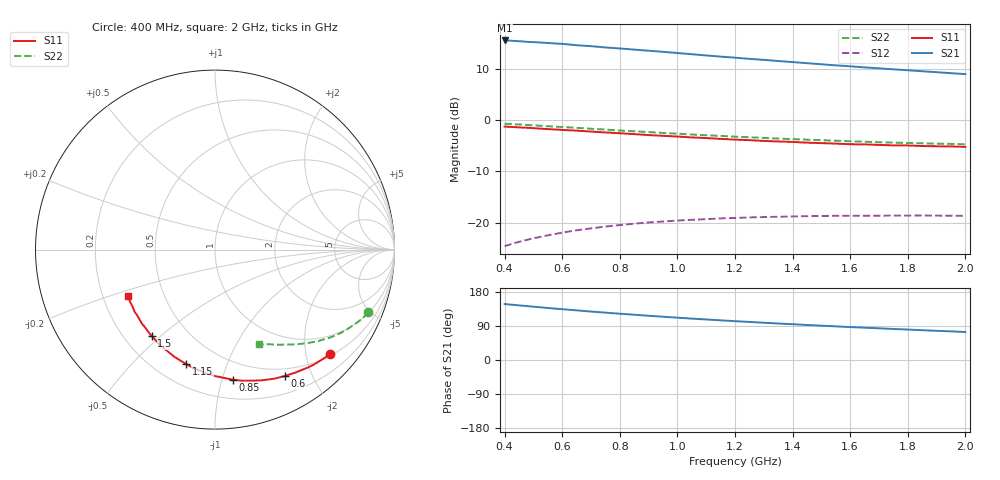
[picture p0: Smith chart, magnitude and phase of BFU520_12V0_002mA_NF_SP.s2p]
! Filename:  P:\Prog\Test\Noise\ATS_data\Testdata_Net\06 Compressed Noise after Statistics\BFU520_APG2013_37_A05_12p0V_002mA_NF_CM01_D.sf
! Date/Time: Fri 26/Apr/2013 14:13:13
! BFU520_APG2013_37_A05_12p0V_1to20mA_NF_CM01_Bias2_R.sf
! Noise Parameter Data File
! BFU520_APG2013_37_A05_12p0V_1to20mA_NF_CM01
! Date/time: Tue Apr 23 19:55:39 2013
! VAR V_out= 12.001000
! VAR I_out= 2.000000
! VAR V_in= 0.800200
! VAR I_in= 0.017900
! Device data file deembeded for feedlines and parallel
! Original file: \06 Compressed Noise after Statistics\BFU520_APG2013_37_A05_12p0V_002mA_NF_CM01_R.sf
! Feed-files: PR047V01_250413_Feed1.s2p, PR047V01_250413_Feed2.s2p
! Parallel-file: PR047V01_250413_Par.s2p
# MHz S MA R 50
!  Freq-MHz  S11-mag  S11-arg  S21-mag  S21-arg  S12-mag  S12-arg  S22-mag  S22-arg
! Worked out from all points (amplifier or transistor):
!   37 points, 400 MHz to 2 GHz, reference 50 ohm
!   highest |S21| = 15.6 dB at 400 MHz (marker M1)
!   |S21| within 3 dB of that: start of sweep to 1.115 GHz
!   unconditionally stable (mu >= 1): nowhere
!   at 500 MHz: K = 0.17, MSG = 19.2 dB, |S12| = -23.1 dB
!   at 1.1 GHz: K = 0.35, MSG = 16.0 dB, |S12| = -19.3 dB
!   at 2 GHz: K = 0.66, MSG = 13.9 dB, |S12| = -18.7 dB
!   lowest NFmin = 0.58 dB at 420 MHz
!   S11 on the Smith chart (normalised r, x): 400 MHz: 0.54, -2.50; 600 MHz: 0.40, -1.62; 850 MHz: 0.35, -1.08; 1.15 GHz: 0.32, -0.73; 1.5 GHz: 0.31, -0.47; 2 GHz: 0.31, -0.23
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400  0.8661 -42.0  6.017 147.7  0.0588 64.3  0.9225 -22.3
440  0.8544 -46.0  5.94 144.8  0.06363 62.1  0.9109 -24.2
460  0.8483 -48.0  5.897 143.5  0.06598 61.0  0.9056 -25.2
480  0.8433 -49.8  5.826 142.1  0.06804 60.0  0.8976 -26.1
500  0.8363 -51.8  5.8 140.7  0.0702 59.0  0.8915 -27.0
550  0.8191 -56.6  5.684 137.2  0.075 56.3  0.8737 -29.2
600  0.8045 -61.2  5.574 134.1  0.07973 54.1  0.8583 -31.3
650  0.7908 -65.4  5.403 131.0  0.08409 51.8  0.8425 -33.3
700  0.7745 -70.0  5.294 127.8  0.0877 49.6  0.8256 -35.2
750  0.7595 -74.0  5.14 125.0  0.09138 47.6  0.8108 -37.0
800  0.7462 -78.3  5.027 122.1  0.0945 45.7  0.7938 -38.6
850  0.7313 -82.3  4.898 119.4  0.09749 43.8  0.7799 -40.2
950  0.7041 -90.1  4.66 114.2  0.1024 40.5  0.7508 -43.3
1050  0.679 -97.3  4.415 109.2  0.1064 37.4  0.7252 -46.1
1150  0.6571 -104.2  4.186 104.7  0.1098 34.8  0.7029 -48.5
1200  0.6467 -107.7  4.086 102.5  0.111 33.4  0.6911 -49.8
1350  0.62 -117.1  3.789 96.3  0.114 30.2  0.6616 -53.1
1500  0.5977 -126.1  3.522 90.5  0.1159 27.3  0.6381 -56.1
1600  0.5829 -131.8  3.362 86.9  0.1166 25.6  0.623 -58.1
1750  0.5677 -139.7  3.143 81.9  0.1171 23.6  0.6042 -60.8
1850  0.5598 -144.8  3.01 78.6  0.1172 22.5  0.5957 -62.5
2000  0.549 -151.7  2.821 74.0  0.1162 21.1  0.5816 -65.2
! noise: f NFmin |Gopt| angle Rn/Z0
400  0.6598  0.4544  20.15  0.2241
460  0.6058  0.4531  22.97  0.2088
600  0.6486  0.4691  26.16  0.2238
800  0.6883  0.4622  39.95  0.2002
1000  0.7225  0.4574  50.24  0.1929
1200  0.7754  0.4534  60.72  0.1865
1400  0.7665  0.4374  70.94  0.171
1600  0.8164  0.3899  84.5  0.1432
1800  0.6203  0.4163  94.82  0.1166
2000  0.9762  0.3922  105.2  0.1322
